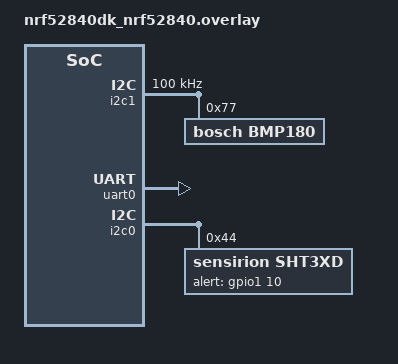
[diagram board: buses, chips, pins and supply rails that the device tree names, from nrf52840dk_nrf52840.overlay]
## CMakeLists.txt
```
cmake_minimum_required(VERSION 3.20.0)

list(APPEND ZEPHYR_EXTRA_MODULES
  ${CMAKE_CURRENT_SOURCE_DIR}/drivers
)


find_package(Zephyr REQUIRED HINTS $ENV{ZEPHYR_BASE})

project(pressure_sensor_driver)

target_sources(app PRIVATE src/main.c
drivers/sps30/sps30.c
drivers/sps30/sensirion_common.c
drivers/sps30/hal.c)
zephyr_include_directories(drivers)
```

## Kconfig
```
rsource "drivers/Kconfig"
source "Kconfig.zephyr"
```

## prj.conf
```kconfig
# Enable OpenThread FTD features set
# CONFIG_OPENTHREAD_NORDIC_LIBRARY_FTD=y
# L2 OpenThread enabling
CONFIG_NET_L2_OPENTHREAD=y
# Generic networking options
CONFIG_NETWORKING=y
# Network parameter
CONFIG_OPENTHREAD_MANUAL_START=n
CONFIG_OPENTHREAD_NETWORK_NAME="WSN"
CONFIG_OPENTHREAD_PANID=64256
CONFIG_OPENTHREAD_XPANID="fb:02:fb:02:fb:02:00:00"
CONFIG_OPENTHREAD_NETWORKKEY="00:11:22:33:44:55:66:77:88:99:aa:bb:cc:dd:ee:ff"

CONFIG_OPENTHREAD_JOINER=y
CONFIG_OPENTHREAD_JOINER_AUTOSTART=y
CONFIG_OPENTHREAD_JOINER_PSKD="J01NME"

# Network shell
CONFIG_SHELL=y
CONFIG_OPENTHREAD_SHELL=y
CONFIG_SHELL_ARGC_MAX=26
CONFIG_SHELL_CMD_BUFF_SIZE=416
#Additional parameter
# CONFIG_MBEDTLS_SHA1_C=n
CONFIG_FPU=y
CONFIG_GPIO=y
# Enable OpenThread CoAP support API
CONFIG_OPENTHREAD_COAP=y

CONFIG_I2C=y
CONFIG_SENSOR=y
CONFIG_MCP9808=y
CONFIG_NEWLIB_LIBC=y
CONFIG_NEWLIB_LIBC_FLOAT_PRINTF=y

CONFIG_PWM=y
CONFIG_CBPRINTF_FP_SUPPORT=y
# CONFIG_NCS_SAMPLES_DEFAULTS=y
# CONFIG_UART_LINE_CTRL=y
CONFIG_BMP180=y
# CONFIG_OPENTHREAD_NORDIC_LIBRARY_FTD=y
# CONFIG_STDOUT_CONSOLE=y
```

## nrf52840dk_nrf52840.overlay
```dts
// To get started, press Ctrl+Space to bring up the completion menu and view the available nodes.

// You can also use the buttons in the sidebar to perform actions on nodes.
// Actions currently available include:

// * Enabling / disabling the node
// * Adding the bus to a bus
// * Removing the node
// * Connecting ADC channels

// For more help, browse the DeviceTree documentation at https://docs.zephyrproject.org/latest/guides/dts/index.html
// You can also visit the nRF DeviceTree extension documentation at https://nrfconnect.github.io/vscode-nrf-connect/devicetree/nrfdevicetree.html
&i2c1 {
    status ="okay";
	clock-frequency = <I2C_BITRATE_STANDARD>;
    bmp180@77 {
		status = "okay";
		compatible = "bosch,bmp180";
		reg = <0x77>;
		model = "bmp180";
	};

};

&uart0 {
	status = "okay";
	hw-flow-control;
};

&pinctrl {
    i2c1_default: i2c1_default {
		group1 {
			psels = <NRF_PSEL(TWIM_SDA, 0, 30)>,
				<NRF_PSEL(TWIM_SCL, 0, 31)>;
            bias-pull-up;
		};
	};
};
&i2c0 { 
    
    status = "okay";
	sht3xd@44 {
		compatible = "sensirion,sht3xd";
		reg = <0x44>;
		alert-gpios = <&gpio1 10 GPIO_ACTIVE_HIGH>;
	};
};


&arduino_adc {
    io-channel-map = <0 &adc 1>, <1 &adc 2>, <2 &adc 4>, <3 &adc 5>, <4 &adc 6>, <5 &adc 7>;
};

&i2c0_default {
    group1 {
        psels = <NRF_PSEL(TWIM_SDA, 0, 29)>, <NRF_PSEL(TWIM_SCL, 0, 28)>;
    };
};
```

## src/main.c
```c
#include <zephyr/kernel.h>
#include <zephyr/device.h>
#include <zephyr/drivers/sensor.h>
#include <zephyr/drivers/i2c.h>
#include <zephyr/sys/printk.h>
#include <zephyr/logging/log.h>
#include <sensor/bmp180/bmp180.h>
#include <math.h>
#include <stdio.h>
#include <zephyr/drivers/gpio.h>
#include <zephyr/net/openthread.h>
#include <openthread/thread.h>
#include <openthread/udp.h>
#include <openthread/coap.h>
#include <sps30/sps30.h>>

#define SLEEP_TIME_MS 1000
#define DATA_SENDING_INTERVAL 30000
#define TEXTBUFFER_SIZE 30
#define BUTTON0_NODE DT_NODELABEL(button0) // DT_N_S_buttons_S_button_0
#define BUTTON1_NODE DT_NODELABEL(button1) // DT_N_S_buttons_S_button_0


LOG_MODULE_REGISTER(main);

static const struct device *i2c_dev;
static const struct device *bmp180_dev;
static const struct device *sht3xd_dev;
struct sensor_value temp_sht3xd, humidity, temp_bmp180, press;
struct sensor_value altitude = {0, 0};
struct sps30_measurement m;
typedef struct {
    float C_L;  // Lower concentration breakpoint
    float C_H;  // Upper concentration breakpoint
    int I_L;    // Lower AQI breakpoint
    int I_H;    // Upper AQI breakpoint
} AQIBreakpoint;

static const struct gpio_dt_spec button0_spec = GPIO_DT_SPEC_GET(BUTTON0_NODE, gpios);
static const struct gpio_dt_spec button1_spec = GPIO_DT_SPEC_GET(BUTTON1_NODE, gpios);
static struct gpio_callback button_cb;
static struct k_timer send_timer; // Kernel timer
static volatile bool function_running = false;
int err;

void button_pressed_cb(const struct device *gpiob, struct gpio_callback *cb,
                       gpio_port_pins_t pins);
                       
static void coap_send_data_request(struct k_work *work);
static void send_timer_callback(struct k_timer *timer_id);
static void coap_send_data_response_cb(void *p_context, otMessage *p_message,
                                       const otMessageInfo *p_message_info, otError result);
int calculate_aqi(float concentration, AQIBreakpoint breakpoints[], int num_breakpoints);


char myText[TEXTBUFFER_SIZE];
uint16_t myText_length = 0;
char sensors_data[150];

// US EPA breakpoints for PM2.5
AQIBreakpoint pm25_breakpoints[] = {
    {0.0, 12.0, 0, 50},
    {12.1, 35.4, 51, 100},
    {35.5, 55.4, 101, 150},
    {55.5, 150.4, 151, 200},
    {150.5, 250.4, 201, 300},
    {250.5, 350.4, 301, 400},
    {350.5, 500.4, 401, 500}
};

// US EPA breakpoints for PM10
AQIBreakpoint pm10_breakpoints[] = {
    {0.0, 54.0, 0, 50},
    {55.0, 154.0, 51, 100},
    {155.0, 254.0, 101, 150},
    {255.0, 354.0, 151, 200},
    {355.0, 424.0, 201, 300},
    {425.0, 504.0, 301, 400},
    {505.0, 604.0, 401, 500}
};


static void storedata_response_send(otMessage *p_request_message,
                                    const otMessageInfo *p_message_info);


void udpReceiveCb(void *aContext, otMessage *aMessage, const otMessageInfo *aMessageInfo)
{
    uint16_t payloadLength = otMessageGetLength(aMessage) - otMessageGetOffset(aMessage);
    char buf[payloadLength + 1];
    otMessageRead(aMessage, otMessageGetOffset(aMessage), buf, payloadLength);
    buf[payloadLength] = '\0';
    printk("Received: %s\n", buf);
}

static void storedata_response_send(otMessage *p_request_message,
                                    const otMessageInfo *p_message_info)
{
    otError error = OT_ERROR_NO_BUFS;
    otMessage *p_response;
    otInstance *p_instance = openthread_get_default_instance();
    p_response = otCoapNewMessage(p_instance, NULL);
    if (p_response == NULL)
    {
        printk("Failed to allocate message for CoAP Request\n");
        return;
    }
    do
    {
        error = otCoapMessageInitResponse(p_response, p_request_message,
                                          OT_COAP_TYPE_ACKNOWLEDGMENT,
                                          OT_COAP_CODE_CHANGED);
        if (error != OT_ERROR_NONE)
        {
            break;
        }
        error = otCoapSendResponse(p_instance, p_response, p_message_info);
    } while (false);
    if (error != OT_ERROR_NONE)
    {
        printk("Failed to send store data response: %d\n", error);
        otMessageFree(p_response);
    }
}
static void coap_send_data_request(struct k_work *work)
{
    otError error = OT_ERROR_NONE;
    otMessage *myMessage;
    otMessageInfo myMessageInfo;
    otInstance *myInstance = openthread_get_default_instance();
    const otMeshLocalPrefix *ml_prefix = otThreadGetMeshLocalPrefix(myInstance);
    uint8_t serverInterfaceID[8] = {0x00, 0x00, 0x00, 0x00, 0x00, 0x00, 0x00, 0x01};
    const char *serverIpAddr =  "fd5f:7a91:b399:1:daa0:38be:eb1f:f9a7";
    const char *myTemperatureJson = "{\"temperature\": 23.32}";

    do
    {
        int ret;

        // Fetch sample from BMP180 sensor
        ret = bmp180_sample_fetch(bmp180_dev, SENSOR_CHAN_ALL);
        if (ret) {
            printk("Failed to fetch sample from BMP180: %s\n", strerror(-ret));
            return 0;
        }

        // Get pressure [Pa] and temperature [C] measurement from BMP180
        ret = bmp180_channel_get(bmp180_dev, SENSOR_CHAN_AMBIENT_TEMP, &temp_bmp180);
        if (ret) {
            printk("Failed to get temperature from BMP180: %d\n", ret);
            return 0;
        }

        ret = bmp180_channel_get(bmp180_dev, SENSOR_CHAN_PRESS, &press);
        if (ret) {
            printk("Failed to get pressure from BMP180: %d\n", ret);
            return 0;
        }

        // Fetch sample from SHT3XD sensor
        ret = sensor_sample_fetch(sht3xd_dev);
        if (ret) {
            printk("Failed to fetch sample from SHT3XD: %d\n", ret);
            return 0;
        }

        // Get temperature [C] and humidity [%RH] measurement from SHT3XD
        ret = sensor_channel_get(sht3xd_dev, SENSOR_CHAN_AMBIENT_TEMP, &temp_sht3xd);
        if (ret) {
            printk("Failed to get temperature from SHT3XD: %d\n", ret);
            return 0;
        }

        ret = sensor_channel_get(sht3xd_dev, SENSOR_CHAN_HUMIDITY, &humidity);
        if (ret) {
            printk("Failed to get humidity from SHT3XD: %d\n", ret);
            return 0;
        }

        char serial_number[SPS30_MAX_SERIAL_LEN];
        ret = sps30_get_serial(serial_number);
        if (ret) {
            printf("error reading serial number\n");
        } 

        ret = sps30_start_measurement();
        if (ret < 0)
            printf("error starting measurement\n");
        
        sensirion_sleep_usec(SPS30_MEASUREMENT_DURATION_USEC); /* wait 1s */
        ret = sps30_read_measurement(&m);
        if (ret < 0) {
            printf("error reading measurement\n");
            return 0;
        }

           
        // Calculate estimated altitude [m] from BMP180
        altitude.val1 = 243.00 * (1.0 - pow((press.val1 / 101325.0), 0.1903));
        
        double pressure = (press.val1 + 98800) + (press.val2 / 1000000.0);
        double pressureInKiloPascals = pressure / 1000;
        double finalTemperature = (sensor_value_to_double(&temp_sht3xd) + sensor_value_to_double(&temp_bmp180)) / 2;

        int pm25Aqi = calculate_aqi(m.mc_2p5, pm25_breakpoints, sizeof(pm25_breakpoints) / sizeof(pm25_breakpoints[0]));
        int pm10Aqi = calculate_aqi(m.mc_10p0, pm10_breakpoints, sizeof(pm10_breakpoints) / sizeof(pm10_breakpoints[0]));
   
        // Determine overall AQI
        int overallAqi = (pm25Aqi > pm10Aqi) ? pm25Aqi : pm10Aqi;
        
        // printf("Overall AQI: %d\n", overall_aqi);
        myMessage = otCoapNewMessage(myInstance, NULL);
        if (myMessage == NULL)
        {
            printk("Failed to allocate message for CoAP Request\n");
            return;
        }
        otCoapMessageInit(myMessage, OT_COAP_TYPE_CONFIRMABLE, OT_COAP_CODE_PUT);
        error = otCoapMessageAppendUriPathOptions(myMessage, "storedata");
        if (error != OT_ERROR_NONE)
        {
            break;
        }
        error = otCoapMessageAppendContentFormatOption(myMessage,
                                                    OT_COAP_OPTION_CONTENT_FORMAT_JSON);
        if (error != OT_ERROR_NONE)
        {
            break;
        }
        error = otCoapMessageSetPayloadMarker(myMessage);
        if (error != OT_ERROR_NONE)
        {
            break;
        }
        

        snprintf(sensors_data, sizeof(sensors_data), 
            "{\"Pressure\": %.2f ,\"Humidity\": %.2f, \"Temperature\": %.2f, \"PM1_0\": %.2f, \"PM2_5\": %.2f, \"PM4\": %.2f, \"PM10\": %.2f, \"AQI\": %d}", 
            pressureInKiloPascals, 
            sensor_value_to_double(&humidity),
            finalTemperature,
            m.mc_1p0,
            m.mc_2p5, 
            m.mc_4p0, 
            m.mc_10p0,
            overallAqi
        );
        sensors_data[149] = '\0';
        printk("%s\n", sensors_data);

        error = otMessageAppend(myMessage, sensors_data,
                                strlen(sensors_data));
        if (error != OT_ERROR_NONE)
        {
            break;
        }
        memset(&myMessageInfo, 0, sizeof(myMessageInfo));
        memset(sensors_data, 0, sizeof(sensors_data));
        myMessageInfo.mPeerPort = OT_DEFAULT_COAP_PORT;

        error = otIp6AddressFromString(serverIpAddr, &myMessageInfo.mPeerAddr);
        if (error != OT_ERROR_NONE) { break; }

        error = otCoapSendRequest(myInstance, myMessage, &myMessageInfo,
                                coap_send_data_response_cb, NULL);


    } while (false);
    if (error != OT_ERROR_NONE)
    {
        printk("Failed to send CoAP Request: %d\n", error);
        otMessageFree(myMessage);
    }
    else
    {
        printk("CoAP data send.\n");
    }

}

K_WORK_DEFINE(sensor_work, coap_send_data_request);

static void coap_send_data_response_cb(void *p_context, otMessage *p_message,
                                       const otMessageInfo *p_message_info, otError result)
{
    if (result == OT_ERROR_NONE)
    {
        printk("Delivery confirmed.\n");
    }
    else
    {
        printk("Delivery not confirmed: %d\n", result);
    }
}

void coap_init(void)
{
    otInstance *p_instance = openthread_get_default_instance();
    otError error = otCoapStart(p_instance, OT_DEFAULT_COAP_PORT);
    if (error != OT_ERROR_NONE)
        printk("Failed to start Coap: %d\n", error);
}

void button_pressed_cb(const struct device *dev, struct gpio_callback *cb, uint32_t pins) {
    if (pins & BIT(button0_spec.pin)) {
        function_running = true;
        printk("Start sending data....\n");
        k_timer_start(&send_timer, K_NO_WAIT, K_MSEC(DATA_SENDING_INTERVAL));

    } else if (pins & BIT(button1_spec.pin)) {
        function_running = false;
        printk("Stop sending data....\n");
        k_timer_stop(&send_timer);
    }
}

void send_timer_callback(struct k_timer *timer_id)
{
    if (function_running) {
        k_work_submit(&sensor_work);
    }
}

//Function to calculate air quality index
int calculate_aqi(float concentration, AQIBreakpoint breakpoints[], int num_breakpoints) {
    for (int i = 0; i < num_breakpoints; i++) {
        if (concentration >= breakpoints[i].C_L && concentration <= breakpoints[i].C_H) {
            float aqi = ((breakpoints[i].I_H - breakpoints[i].I_L) / 
                         (breakpoints[i].C_H - breakpoints[i].C_L)) * 
                         (concentration - breakpoints[i].C_L) + 
                         breakpoints[i].I_L;
            return (int)(aqi + 0.5);  // Round to nearest integer
        }
    }
    return -1;
}

int main(void)
{
    // Initialize I2C device
    i2c_dev = DEVICE_DT_GET(DT_NODELABEL(i2c1));
    if (!i2c_dev) {
        printk("I2C: Device driver not found.\n");
        return 0;
    }
    
    // Initialize BMP180 sensor device
    bmp180_dev = DEVICE_DT_GET_ANY(bosch_bmp180);
    if (!bmp180_dev) {
        printk("BMP180: Device driver not found.\n");
        return 0;
    }

    // Initialize SHT3XD sensor device
    sht3xd_dev = DEVICE_DT_GET_ANY(sensirion_sht3xd);
    if (!sht3xd_dev) {
        printk("SHT3XD: Device driver not found.\n");
        return 0;
    }
    if (!device_is_ready(sht3xd_dev)) {
        printk("SHT3XD: Device not ready.\n");
        return 0;
    }

    /* Initialize I2C bus */
    sensirion_i2c_init();

    /* Busy loop for initialization, because the main loop does not work without
     * a sensor.
     */
    while (sps30_probe() != 0) {
        printf("SPS sensor probing failed\n");
        sensirion_sleep_usec(1000000);
    }

    coap_init();
    gpio_pin_configure_dt(&button0_spec, GPIO_INPUT);
    gpio_pin_interrupt_configure_dt(&button0_spec, GPIO_INT_EDGE_TO_ACTIVE);
    gpio_pin_configure_dt(&button1_spec, GPIO_INPUT);
    gpio_pin_interrupt_configure_dt(&button1_spec, GPIO_INT_EDGE_TO_ACTIVE);
    gpio_init_callback(&button_cb, button_pressed_cb, BIT(button0_spec.pin) | BIT(button1_spec.pin));
    gpio_add_callback(button0_spec.port, &button_cb);
    gpio_add_callback(button1_spec.port, &button_cb);

    k_timer_init(&send_timer, send_timer_callback, NULL);

    while (1)
    {
        k_msleep(SLEEP_TIME_MS);
    }
}
```
